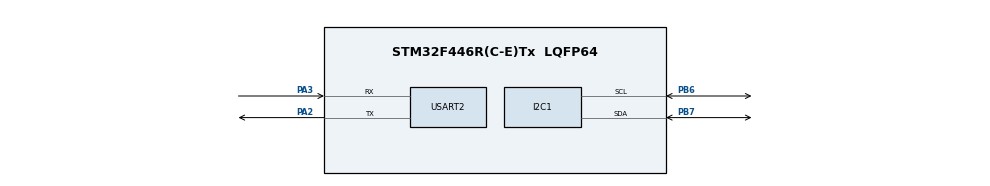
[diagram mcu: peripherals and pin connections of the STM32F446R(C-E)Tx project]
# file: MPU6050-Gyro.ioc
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Mcu.Family=STM32F4
Mcu.Name=STM32F446R(C-E)Tx
Mcu.Package=LQFP64
NVIC.PriorityGroup=NVIC_PRIORITYGROUP_4
PA13.Mode=Serial_Wire
PA13.Signal=SYS_JTMS-SWDIO
PA14.Mode=Serial_Wire
PA14.Signal=SYS_JTCK-SWCLK
PA2.Mode=Asynchronous
PA2.Signal=USART2_TX
PA3.Mode=Asynchronous
PA3.Signal=USART2_RX
PB6.Mode=I2C
PB6.Signal=I2C1_SCL
PB7.Mode=I2C
PB7.Signal=I2C1_SDA
ProjectManager.HeapSize=0x200
ProjectManager.StackSize=0x400
ProjectManager.TargetToolchain=STM32CubeIDE
RCC.CortexFreq_Value=16000000
RCC.USBFreq_Value=96000000
RCC.VCOOutputFreq_Value=192000000
USART2.VirtualMode=VM_ASYNC
board=custom

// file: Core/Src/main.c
/* USER CODE BEGIN Header */
/**
  ******************************************************************************
  * @file           : main.c
  * @brief          : Main program body
  ******************************************************************************
  * @attention
  *
  * Copyright (c) 2026 STMicroelectronics.
  * All rights reserved.
  *
  * This software is licensed under terms that can be found in the LICENSE file
  * in the root directory of this software component.
  * If no LICENSE file comes with this software, it is provided AS-IS.
  *
  ******************************************************************************
  */
/* USER CODE END Header */
#include "main.h"

/* USER CODE BEGIN Includes */
#include <stdio.h>
#include <string.h>
#include <math.h>
#include <stdlib.h>
/* USER CODE END Includes */

/* USER CODE BEGIN PD */
#define MPU6050_ADDR      (0x68 << 1)
#define MPU6050_PWR_MGMT1 0x6B
#define MPU6050_CONFIG    0x1A
#define MPU6050_GYRO_CFG  0x1B
#define MPU6050_ACCEL_CFG 0x1C
#define MPU6050_ACCEL_OUT 0x3B

#define RAD_TO_DEG   57.29578f
#define Z_BROKEN     1

#define ALPHA        0.98f   // gyro payı
#define LOOP_MS      10      // her turun süresi
#define PRINT_EVERY  10      // 10 turda bir yazdır (yaklaşık 100 ms)
/* USER CODE END PD */

I2C_HandleTypeDef hi2c1;

UART_HandleTypeDef huart2;

/* USER CODE BEGIN PV */
char msg[128];
float gx_off = 0.0f, gy_off = 0.0f;   // gyro sıfır hatası
float roll = 0.0f, pitch = 0.0f;      // filtrelenmiş açılar
uint32_t last_tick = 0;
/* USER CODE END PV */

void SystemClock_Config(void);
static void MX_GPIO_Init(void);
static void MX_I2C1_Init(void);
static void MX_USART2_UART_Init(void);

/* USER CODE BEGIN 0 */
static void format_angle(char *out, float angle)
{
    int32_t a10 = (int32_t)(angle * 10.0f);
    char sign = (a10 < 0) ? '-' : '+';
    if (a10 < 0) a10 = -a10;
    sprintf(out, "%c%ld.%ld", sign, (long)(a10 / 10), (long)(a10 % 10));
}

// Sensörden accel (g) ve gyro (derece/saniye) oku
static uint8_t mpu_read(float *ax, float *ay, float *az, float *gx, float *gy)
{
    uint8_t buf[14];
    if (HAL_I2C_Mem_Read(&hi2c1, MPU6050_ADDR, MPU6050_ACCEL_OUT, 1, buf, 14, 100) != HAL_OK)
        return 0;

    int16_t axr = (int16_t)(buf[0]  << 8 | buf[1]);
    int16_t ayr = (int16_t)(buf[2]  << 8 | buf[3]);
    int16_t azr = (int16_t)(buf[4]  << 8 | buf[5]);
    int16_t gxr = (int16_t)(buf[8]  << 8 | buf[9]);
    int16_t gyr = (int16_t)(buf[10] << 8 | buf[11]);

    *ax = axr / 16384.0f;
    *ay = ayr / 16384.0f;
    *az = azr / 16384.0f;
    *gx = gxr / 131.0f;
    *gy = gyr / 131.0f;

#if Z_BROKEN
    // Z'yi X ve Y'den tahmin et (kart yukarı bakıyor varsayımı)
    float rest = 1.0f - (*ax) * (*ax) - (*ay) * (*ay);
    if (rest < 0.0f) rest = 0.0f;
    *az = sqrtf(rest);
#endif
    return 1;
}

// Sadece accelerometer'dan açı hesapla
static void accel_angles(float ax, float ay, float az, float *r, float *p)
{
    *r = atan2f(ay, az) * RAD_TO_DEG;
    *p = atan2f(-ax, sqrtf(ay * ay + az * az)) * RAD_TO_DEG;
}

/* USER CODE END 0 */

int main(void)
{

  /* MCU Configuration--------------------------------------------------------*/

  /* Reset of all peripherals, Initializes the Flash interface and the Systick. */
  HAL_Init();

  /* Configure the system clock */
  SystemClock_Config();

  /* Initialize all configured peripherals */
  MX_GPIO_Init();
  MX_I2C1_Init();
  MX_USART2_UART_Init();
  /* USER CODE BEGIN 2 */
  uint8_t data = 0;
  float ax, ay, az, gx, gy;
  float sum_gx = 0.0f, sum_gy = 0.0f;
  uint16_t n = 0;
  uint8_t print_cnt = 0;

  HAL_Delay(100);

  // Sensörü sıfırla ve uyandır
  data = 0x80;
  HAL_I2C_Mem_Write(&hi2c1, MPU6050_ADDR, MPU6050_PWR_MGMT1, 1, &data, 1, 100);
  HAL_Delay(200);
  data = 0x01;
  HAL_I2C_Mem_Write(&hi2c1, MPU6050_ADDR, MPU6050_PWR_MGMT1, 1, &data, 1, 100);
  HAL_Delay(100);

  // Dahili alçak geçiren filtre (yaklaşık 44 Hz), gürültüyü azaltır
  data = 0x03;
  HAL_I2C_Mem_Write(&hi2c1, MPU6050_ADDR, MPU6050_CONFIG, 1, &data, 1, 100);

  // Gyro ±250 derece/saniye, Accel ±2g
  data = 0x00;
  HAL_I2C_Mem_Write(&hi2c1, MPU6050_ADDR, MPU6050_GYRO_CFG, 1, &data, 1, 100);
  HAL_I2C_Mem_Write(&hi2c1, MPU6050_ADDR, MPU6050_ACCEL_CFG, 1, &data, 1, 100);
  HAL_Delay(50);

  // Gyro kalibrasyonu: kart hareketsizken ortalama sıfır hatasını bul
  snprintf(msg, sizeof(msg), "Kalibrasyon basladi, karti kipirdatma...\r\n");
  HAL_UART_Transmit(&huart2, (uint8_t*)msg, strlen(msg), 100);

  for (int i = 0; i < 200; i++)
  {
      if (mpu_read(&ax, &ay, &az, &gx, &gy))
      {
          sum_gx += gx;
          sum_gy += gy;
          n++;
      }
      HAL_Delay(5);
  }
  if (n > 0)
  {
      gx_off = sum_gx / n;
      gy_off = sum_gy / n;
  }

  // Başlangıç açısını accelerometer'dan al
  if (mpu_read(&ax, &ay, &az, &gx, &gy))
  {
      accel_angles(ax, ay, az, &roll, &pitch);
  }

  snprintf(msg, sizeof(msg), "Hazir.\r\n");
  HAL_UART_Transmit(&huart2, (uint8_t*)msg, strlen(msg), 100);

  last_tick = HAL_GetTick();
  /* USER CODE END 2 */

  /* Infinite loop */
  while (1)
  {

    /* USER CODE BEGIN 3 */
	  if (mpu_read(&ax, &ay, &az, &gx, &gy))
	      {
	          // Geçen süre (saniye)
	          uint32_t now = HAL_GetTick();
	          float dt = (now - last_tick) / 1000.0f;
	          last_tick = now;
	          if (dt <= 0.0f || dt > 0.5f) dt = LOOP_MS / 1000.0f;

	          // Gyro sıfır hatasını çıkar
	          gx -= gx_off;
	          gy -= gy_off;

	          // Sadece accelerometer açısı (karşılaştırma için)
	          float roll_acc, pitch_acc;
	          accel_angles(ax, ay, az, &roll_acc, &pitch_acc);

	          // Complementary filter
	          roll  = ALPHA * (roll  + gx * dt) + (1.0f - ALPHA) * roll_acc;
	          pitch = ALPHA * (pitch + gy * dt) + (1.0f - ALPHA) * pitch_acc;

	          print_cnt++;
	          if (print_cnt >= PRINT_EVERY)
	          {
	              print_cnt = 0;
	              char ra[12], rf[12], pf[12];
	              format_angle(ra, roll_acc);
	              format_angle(rf, roll);
	              format_angle(pf, pitch);
	              snprintf(msg, sizeof(msg),
	                       "Roll(acc): %s | Roll(filtre): %s | Pitch(filtre): %s\r\n",
	                       ra, rf, pf);
	              HAL_UART_Transmit(&huart2, (uint8_t*)msg, strlen(msg), 100);
	          }
	      }

	      HAL_Delay(LOOP_MS);
  }
  /* USER CODE END 3 */
}

void SystemClock_Config(void)
{
  RCC_OscInitTypeDef RCC_OscInitStruct = {0};
  RCC_ClkInitTypeDef RCC_ClkInitStruct = {0};

  /** Configure the main internal regulator output voltage
  */
  __HAL_RCC_PWR_CLK_ENABLE();
  __HAL_PWR_VOLTAGESCALING_CONFIG(PWR_REGULATOR_VOLTAGE_SCALE3);

  /** Initializes the RCC Oscillators according to the specified parameters
  * in the RCC_OscInitTypeDef structure.
  */
  RCC_OscInitStruct.OscillatorType = RCC_OSCILLATORTYPE_HSI;
  RCC_OscInitStruct.HSIState = RCC_HSI_ON;
  RCC_OscInitStruct.HSICalibrationValue = RCC_HSICALIBRATION_DEFAULT;
  RCC_OscInitStruct.PLL.PLLState = RCC_PLL_NONE;
  if (HAL_RCC_OscConfig(&RCC_OscInitStruct) != HAL_OK)
  {
    Error_Handler();
  }

  /** Initializes the CPU, AHB and APB buses clocks
  */
  RCC_ClkInitStruct.ClockType = RCC_CLOCKTYPE_HCLK|RCC_CLOCKTYPE_SYSCLK
                              |RCC_CLOCKTYPE_PCLK1|RCC_CLOCKTYPE_PCLK2;
  RCC_ClkInitStruct.SYSCLKSource = RCC_SYSCLKSOURCE_HSI;
  RCC_ClkInitStruct.AHBCLKDivider = RCC_SYSCLK_DIV1;
  RCC_ClkInitStruct.APB1CLKDivider = RCC_HCLK_DIV1;
  RCC_ClkInitStruct.APB2CLKDivider = RCC_HCLK_DIV1;

  if (HAL_RCC_ClockConfig(&RCC_ClkInitStruct, FLASH_LATENCY_0) != HAL_OK)
  {
    Error_Handler();
  }
}

static void MX_I2C1_Init(void)
{

  hi2c1.Instance = I2C1;
  hi2c1.Init.ClockSpeed = 100000;
  hi2c1.Init.DutyCycle = I2C_DUTYCYCLE_2;
  hi2c1.Init.OwnAddress1 = 0;
  hi2c1.Init.AddressingMode = I2C_ADDRESSINGMODE_7BIT;
  hi2c1.Init.DualAddressMode = I2C_DUALADDRESS_DISABLE;
  hi2c1.Init.OwnAddress2 = 0;
  hi2c1.Init.GeneralCallMode = I2C_GENERALCALL_DISABLE;
  hi2c1.Init.NoStretchMode = I2C_NOSTRETCH_DISABLE;
  if (HAL_I2C_Init(&hi2c1) != HAL_OK)
  {
    Error_Handler();
  }

}

static void MX_USART2_UART_Init(void)
{

  huart2.Instance = USART2;
  huart2.Init.BaudRate = 115200;
  huart2.Init.WordLength = UART_WORDLENGTH_8B;
  huart2.Init.StopBits = UART_STOPBITS_1;
  huart2.Init.Parity = UART_PARITY_NONE;
  huart2.Init.Mode = UART_MODE_TX_RX;
  huart2.Init.HwFlowCtl = UART_HWCONTROL_NONE;
  huart2.Init.OverSampling = UART_OVERSAMPLING_16;
  if (HAL_UART_Init(&huart2) != HAL_OK)
  {
    Error_Handler();
  }

}

static void MX_GPIO_Init(void)
{

  /* GPIO Ports Clock Enable */
  __HAL_RCC_GPIOA_CLK_ENABLE();
  __HAL_RCC_GPIOB_CLK_ENABLE();

}

void Error_Handler(void)
{
  __disable_irq();
  while (1)
  {
  }
}
